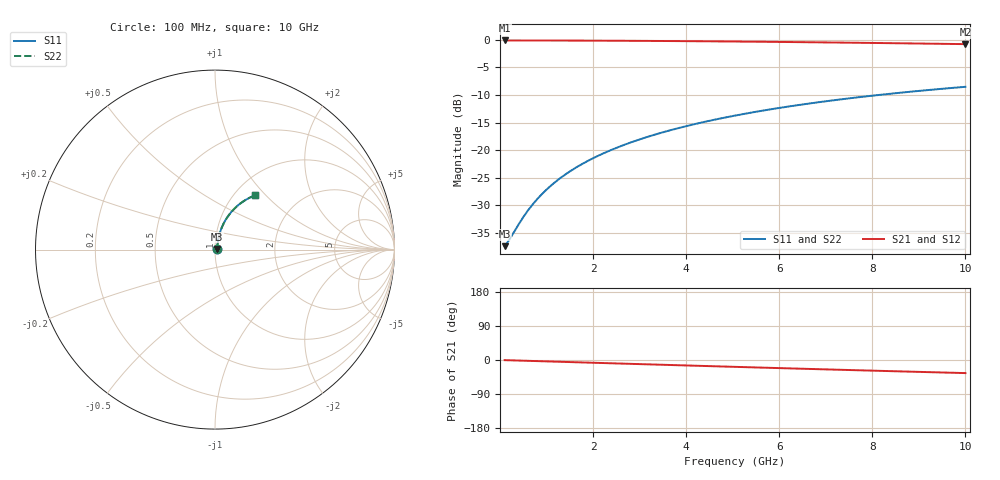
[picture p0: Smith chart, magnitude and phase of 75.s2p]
# Hz S RI R 50.00
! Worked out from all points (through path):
!   100 points, 100 MHz to 10 GHz, reference 50 ohm
!   highest |S21| = -0.11 dB at 100 MHz (marker M1); lowest = -0.8 dB at 10 GHz (marker M2)
!   group delay of S21, straight-line fit = 9.62 ps
!   lowest |S11| = -37.4 dB at 100 MHz (marker M3), VSWR 1.03, Z = 51.3 + j0.422 ohm
!   |S11| at or under -10 dB: start of sweep to 8.132 GHz
!   |S22| runs from -37.4 to -8.5 dB; largest |S21 - S12| = 0
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1e8  0.0129 0.00412  0.9871 -0.00626  0.9871 -0.00626  0.0129 0.00412
2e8  0.013 0.00823  0.987 -0.0125  0.987 -0.0125  0.013 0.00823
4e8  0.0134 0.0164  0.9865 -0.025  0.9865 -0.025  0.0134 0.0164
5e8  0.0137 0.0206  0.9862 -0.0313  0.9862 -0.0313  0.0137 0.0206
6e8  0.014 0.0246  0.9859 -0.0375  0.9859 -0.0375  0.014 0.0246
7e8  0.0144 0.0287  0.9855 -0.0437  0.9855 -0.0437  0.0144 0.0287
9e8  0.0153 0.0369  0.9845 -0.0562  0.9845 -0.0562  0.0153 0.0369
1.1e9  0.0164 0.0451  0.9833 -0.0686  0.9833 -0.0686  0.0164 0.0451
1.3e9  0.0177 0.0532  0.9819 -0.081  0.9819 -0.081  0.0177 0.0532
1.5e9  0.0192 0.0612  0.9803 -0.0933  0.9803 -0.0933  0.0192 0.0612
1.8e9  0.0218 0.0732  0.9774 -0.1118  0.9774 -0.1118  0.0218 0.0732
2.1e9  0.0248 0.0851  0.9741 -0.1301  0.9741 -0.1301  0.0248 0.0851
2.5e9  0.0296 0.1007  0.9689 -0.1542  0.9689 -0.1542  0.0296 0.1007
2.9e9  0.0351 0.116  0.9629 -0.1781  0.9629 -0.1781  0.0351 0.116
3.4e9  0.0429 0.1346  0.9543 -0.2074  0.9543 -0.2074  0.0429 0.1346
4.2e9  0.0578 0.163  0.938 -0.2531  0.938 -0.2531  0.0578 0.163
5.1e9  0.0775 0.1927  0.9163 -0.3022  0.9163 -0.3022  0.0775 0.1927
5.9e9  0.0975 0.2169  0.8943 -0.3436  0.8943 -0.3436  0.0975 0.2169
6.7e9  0.1193 0.2387  0.8701 -0.3828  0.8701 -0.3828  0.1193 0.2387
7.5e9  0.1427 0.258  0.8439 -0.4195  0.8439 -0.4195  0.1427 0.258
8.4e9  0.1706 0.2767  0.8126 -0.4579  0.8126 -0.4579  0.1706 0.2767
1e10  0.2228 0.3019  0.7532 -0.5182  0.7532 -0.5182  0.2228 0.3019
